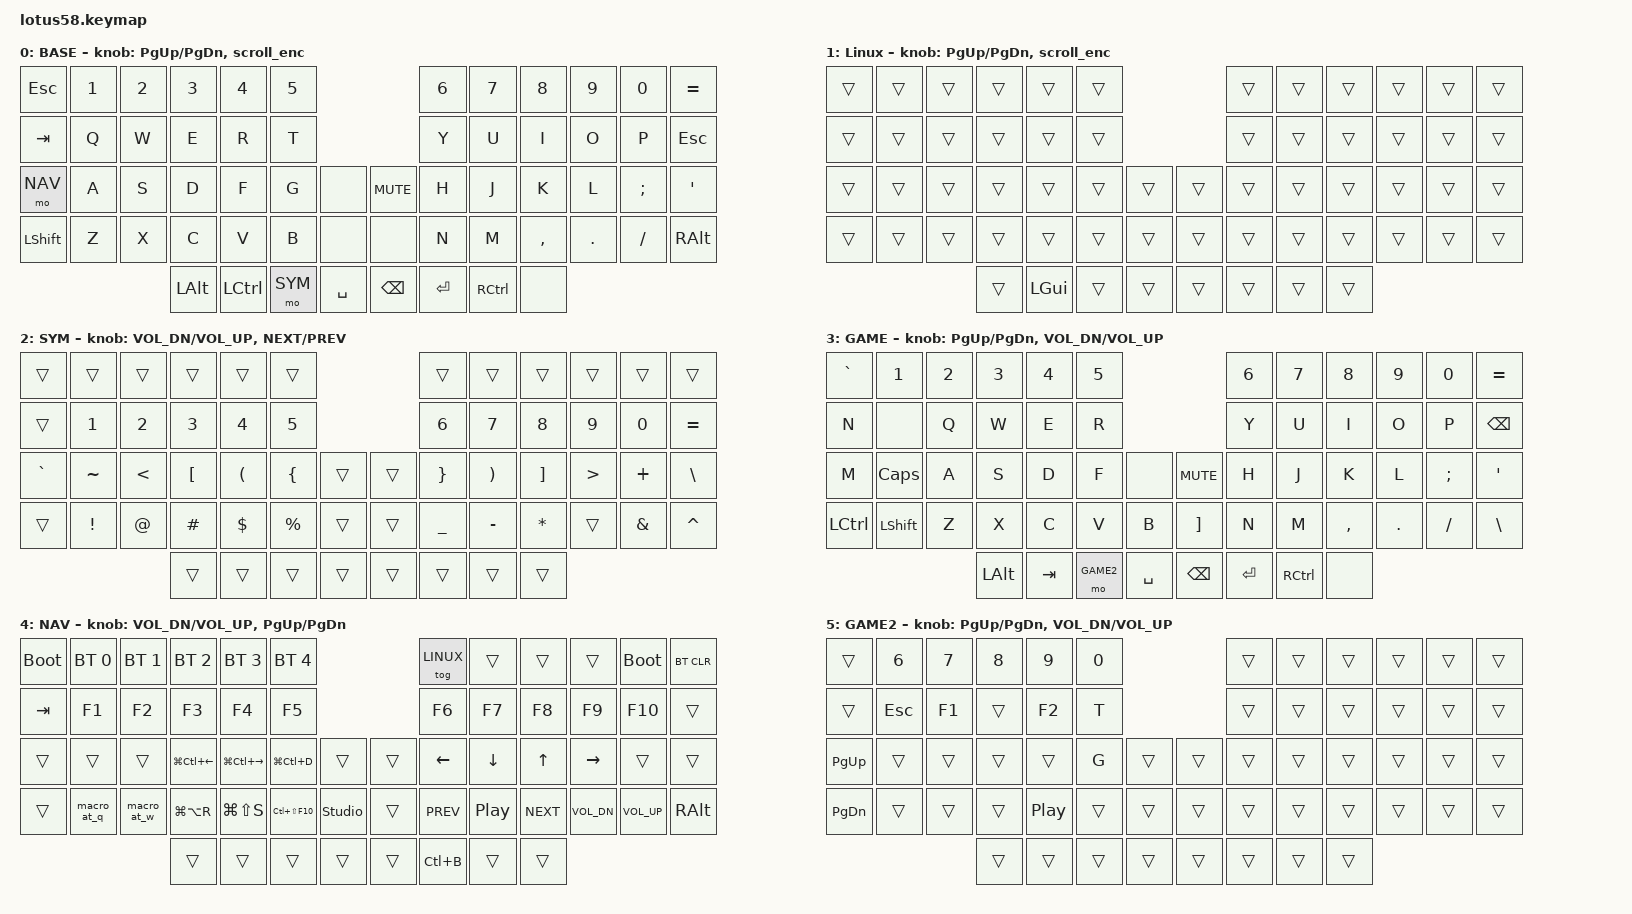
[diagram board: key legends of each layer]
/*
 * Copyright (c) 2022 The ZMK Contributors
 *
 * SPDX-License-Identifier: MIT
 */

#include <behaviors.dtsi>
#include <dt-bindings/zmk/keys.h>
#include <dt-bindings/zmk/bt.h>
#include <dt-bindings/zmk/outputs.h>
#include <dt-bindings/zmk/pointing.h>

/*
 * LAYER ORDER MATTERS.
 * ZMK resolves a keypress by looking at every active layer and using the
 * HIGHEST-numbered one that isn't &trans. So the order below is deliberate:
 *
 *   BASE (0) < LINUX (1) < SYM (2) < GAME (3) < NAV (4) < GAME2 (5)
 *
 * - GAME2 must sit above GAME, otherwise holding the GAME2 key while gaming would
 *   activate GAME2 underneath the gaming layer and you'd never see it.
 * - LINUX is a tiny "overlay" that is normally OFF. It changes one key (see below).
 *   It must sit BELOW SYM so that holding SYM stops the BASE<->GAME combos from firing.
 * - A layer's number comes from its position in the keymap below, so the layer
 *   blocks must stay in this same order.
 *
 * Mapping to your names:
 *   BASE = Coding layer 1   SYM = Coding layer 2   NAV = Coding layer 3
 *   GAME = Gaming layer     GAME2 = Gaming function layer (held from GAME only)
 *
 * Layer 0 is the "default layer" and is always active at the bottom of the stack.
 */
#define BASE  0
#define LINUX 1
#define SYM   2
#define GAME  3
#define NAV   4
#define GAME2 5

/*
 * Key positions. Numbering is left-to-right, top-to-bottom:
 *    0-11  number row (Lotus only - not on the Corne, left alone on SYM/NAV)
 *   12-23  Q row      (Corne top row)
 *   24-37  A row      (Corne home row). 30 is NOT a key on your board (it's the screen);
 *                     31 is the right encoder click.
 *   38-51  Z row      (Corne bottom row; 44, 45 = the two inner keys, used for the game combo)
 *   52-55  left thumbs   (52 spare | 53 = Corne outer, 54 = Corne middle, 55 = Corne inner)
 *   56-59  right thumbs  (56 = Corne inner, 57 = Corne middle, 58 = Corne outer | 59 spare)
 */

/ {
    macros {
        // Vim macro replays from the work layout (M3 / M4): types "@q" / "@w".
        macro_at_q: macro_at_q {
            compatible = "zmk,behavior-macro";
            #binding-cells = <0>;
            bindings = <&macro_tap &kp AT &kp Q>;
        };

        macro_at_w: macro_at_w {
            compatible = "zmk,behavior-macro";
            #binding-cells = <0>;
            bindings = <&macro_tap &kp AT &kp W>;
        };
    };

    behaviors {
        // Right encoder as a mouse scroll wheel: turn right = scroll down, turn left = scroll up.
        // On this board's right encoder the FIRST binding fires on a turn to the LEFT and the
        // second on a turn to the right (same as the original template's volume knob:
        // "C_VOL_DN C_VOL_UP"), so the order below looks backwards but isn't.
        // ZMK presses then releases the bound behavior for each encoder click. A scroll press
        // only produces output once it has been held for a short while, so tap-ms is raised
        // from its small default. If scrolling is too slow/fast or does nothing, tune tap-ms
        // (or the speed in the SCRL_ bindings). If it scrolls backwards, swap the two bindings.
        scroll_enc: scroll_enc {
            compatible = "zmk,behavior-sensor-rotate";
            #sensor-binding-cells = <0>;
            bindings = <&msc SCRL_UP>, <&msc SCRL_DOWN>;
            tap-ms = <40>;
        };
    };

    combos {
        compatible = "zmk,combos";

        // BASE -> GAME: press both inner bottom-row keys (44 + 45) together.
        // &tog GAME turns the gaming layer on and it STAYS on. (We use &tog rather than &to
        // so that a Linux-mode setting underneath survives a trip into the game layer.)
        // 'layers' = the highest active layer the combo may fire on: only plain BASE
        // (or BASE + the LINUX overlay) - not while holding SYM/NAV, not while gaming.
        combo_to_game {
            timeout-ms = <50>;
            key-positions = <44 45>;
            layers = <BASE LINUX>;
            bindings = <&tog GAME>;
        };

        // GAME -> BASE: same two keys, only active while on the gaming layer.
        // &tog GAME again turns it off, dropping you back onto BASE (or BASE + LINUX).
        combo_to_base {
            timeout-ms = <50>;
            key-positions = <44 45>;
            layers = <GAME>;
            bindings = <&tog GAME>;
        };
    };

    keymap {
        compatible = "zmk,keymap";

        // ---------------------------------------------------------------------------------
        // Coding layer 1 (default) - matches the work Corne base layer.
        //   pos 24 (home-row pinky): hold = NAV (coding 3)
        //   pos 54 (left middle thumb): hold = SYM (coding 2)
        //   pos 53 (left outer thumb): LCTRL here (Windows). See the LINUX layer for Super.
        //   pos 52 (left outermost thumb): LALT
        // Number row (0-11) is Lotus-only, so it's just numbers.
        // pos 44 / 45 are unbound - they're the BASE<->GAME combo keys (and [ ] live on SYM).
        // pos 31 = encoder click (mute); pos 30 isn't a key.
        // ---------------------------------------------------------------------------------
        base_layer {
            display-name = "BASE";
            bindings = <
&kp ESC   &kp N1 &kp N2 &kp N3  &kp N4   &kp N5                              &kp N6    &kp N7  &kp N8    &kp N9   &kp N0   &kp EQUAL
&kp TAB   &kp Q  &kp W  &kp E   &kp R    &kp T                               &kp Y     &kp U   &kp I     &kp O    &kp P    &kp ESC
&mo NAV   &kp A  &kp S  &kp D   &kp F    &kp G   &none       &kp C_MUTE      &kp H     &kp J   &kp K     &kp L    &kp SEMI &kp SQT
&kp LSHFT &kp Z  &kp X  &kp C   &kp V    &kp B   &none       &none           &kp N     &kp M   &kp COMMA &kp DOT  &kp FSLH &kp RALT
                        &kp LALT &kp LCTRL &mo SYM &kp SPACE  &kp BSPC &kp RET &kp RCTRL &none
            >;

            sensor-bindings = <&inc_dec_kp PG_UP PG_DN &scroll_enc>;
        };

        // ---------------------------------------------------------------------------------
        // LINUX overlay. Normally OFF. Toggle it with the &tog LINUX key on the NAV layer.
        // While on, it changes ONE key: pos 53 becomes LGUI (Super, for Omarchy/Hyprland)
        // instead of LCTRL. Everything else is &trans, so it falls through to whatever is
        // below (BASE). ZMK can't detect which OS it's plugged into, so this is a manual switch.
        // The nice_view shows this layer's name ("LINUX") while it's the top layer, as an indicator.
        // (The gem screen upper-cases names and cuts them off after 9 characters.)
        // ---------------------------------------------------------------------------------
        linux_layer {
            display-name = "Linux";
            bindings = <
&trans    &trans   &trans   &trans   &trans   &trans                        &trans    &trans    &trans    &trans    &trans    &trans
&trans    &trans   &trans   &trans   &trans   &trans                        &trans    &trans    &trans    &trans    &trans    &trans
&trans    &trans   &trans   &trans   &trans   &trans   &trans   &trans      &trans    &trans    &trans    &trans    &trans    &trans
&trans    &trans   &trans   &trans   &trans   &trans   &trans   &trans      &trans    &trans    &trans    &trans    &trans    &trans
                            &trans   &kp LGUI &trans   &trans    &trans   &trans    &trans    &trans
            >;

            sensor-bindings = <&inc_dec_kp PG_UP PG_DN &scroll_enc>;
        };

        // ---------------------------------------------------------------------------------
        // Coding layer 2: numbers + symbols (Corne layer 1). Hold pos 54 on BASE.
        // The Corne has no number row, so its top row holds 1-5 / 6-0 here; the Lotus's own
        // number row is left as &trans. Legends on the sheet show the shifted symbol above
        // the key, so each key sends the unshifted one (1, [, \ ...).
        //
        // GUESSES - these keys were inked over on the sheet, please check:
        //   pos 46 = _   47 = -   49 = (left as &trans -> '.')   50 = &   51 = ^
        // ---------------------------------------------------------------------------------
        sym_layer {
            display-name = "SYM";
            bindings = <
&trans    &trans   &trans   &trans   &trans   &trans                        &trans    &trans    &trans    &trans    &trans    &trans
&trans    &kp N1   &kp N2   &kp N3   &kp N4   &kp N5                        &kp N6    &kp N7    &kp N8    &kp N9    &kp N0    &kp EQUAL
&kp GRAVE &kp TILDE &kp LT  &kp LBKT &kp LPAR &kp LBRC &trans   &trans      &kp RBRC  &kp RPAR  &kp RBKT  &kp GT    &kp PLUS  &kp BSLH
&trans    &kp EXCL &kp AT   &kp HASH &kp DLLR &kp PRCNT &trans  &trans      &kp UNDER &kp MINUS &kp STAR  &trans    &kp AMPS  &kp CARET
                            &trans   &trans   &trans   &trans    &trans   &trans    &trans    &trans
            >;

            sensor-bindings = <&inc_dec_kp C_VOL_DN C_VOL_UP &inc_dec_kp C_NEXT C_PREV>;
        };

        // ---------------------------------------------------------------------------------
        // Gaming layer. Reached by the 44+45 combo from BASE; the same combo returns.
        // Every key is spelled out (no &trans) so nothing leaks through from BASE.
        //
        // ESDF SHIFT: the left half's letters are shifted one column toward the middle, so
        // your fingers rest on the E S D F keys but the keyboard sends W A S D. Games need no
        // rebinding. The outer column is freed up as extra pinky room.
        //   Q row:  N    -     Q   [W]   E    R
        //   home:   M    Caps [A]  [S]  [D]   F
        //   bottom: Ctrl Shift Z    X    C    V    B (pos 44)
        // T and G don't fit on the left half any more; they're on GAME2.
        // The number row is NOT shifted: 1-5 stay on the keys labelled 1-5.
        // pos 0 (top-left) is a grave/backtick instead of Esc, so Esc can't be hit by
        // accident; Esc is on GAME2.
        // Thumbs: Alt, Tab, hold = GAME2, Space (innermost).
        // pos 44 / 45 (the combo keys) send B and ] when tapped alone. Pressing both together
        // still toggles back to BASE.
        // The right half is a normal layout and isn't used much while gaming.
        // ---------------------------------------------------------------------------------
        game_layer {
            display-name = "GAME";
            bindings = <
&kp GRAVE &kp N1   &kp N2 &kp N3 &kp N4  &kp N5                              &kp N6    &kp N7  &kp N8    &kp N9   &kp N0   &kp EQUAL
&kp N     &none    &kp Q  &kp W  &kp E   &kp R                               &kp Y     &kp U   &kp I     &kp O    &kp P    &kp BSPC
&kp M     &kp CAPS &kp A  &kp S  &kp D   &kp F   &none       &kp C_MUTE      &kp H     &kp J   &kp K     &kp L    &kp SEMI &kp SQT
&kp LCTRL &kp LSHFT &kp Z &kp X  &kp C   &kp V   &kp B       &kp RBKT        &kp N     &kp M   &kp COMMA &kp DOT  &kp FSLH &kp BSLH
                        &kp LALT &kp TAB &mo GAME2 &kp SPACE &kp BSPC &kp RET &kp RCTRL &none
            >;

            sensor-bindings = <&inc_dec_kp PG_UP PG_DN &inc_dec_kp C_VOL_DN C_VOL_UP>;
        };

        // ---------------------------------------------------------------------------------
        // Coding layer 3: function keys, arrows, media, macros (Corne layer 2).
        // Hold pos 24 from BASE. It sits on top of the stack while held, so releasing drops
        // you back to BASE. &trans keys fall through to BASE.
        // (Gaming has its own function layer, GAME2, so this layer is for coding only.)
        //
        // Number row (0-11): Lotus-only, so I used it for Bluetooth select/clear, bootloader,
        // and the Windows/Linux switch (pos 6 = &tog LINUX).
        // Bootloader keys: pos 0 (far-left key, top row) puts the LEFT half into bootloader
        // mode and pos 10 puts the RIGHT half into it - each reboots the half it's pressed on.
        // Hold NAV, then press. To reach them while gaming, leave GAME mode first.
        // Windows virtual desktops (D1-D4 on the sheet):
        //   pos 27 = previous desktop  (Win+Ctrl+Left)
        //   pos 28 = next desktop      (Win+Ctrl+Right)
        //   pos 29 = new desktop       (Win+Ctrl+D)
        //   pos 26 = (D1, unassigned)
        // Other keys, from the notes on the sheet:
        //   M0 screenshot = Win+Shift+S (Snipping Tool), M1 screen recorder = Win+Alt+R (Xbox Game Bar)
        //   M2 = Ctrl+Shift+F10 (PyCharm: run current file)
        //   M3 / M4 = macros typing "@q" / "@w"
        //   pos 57 = Ctrl+B (tmux prefix)
        // F7 / F8 = VS Code prev / next terminal (just the function keys, as on the sheet).
        // pos 44 = Studio unlock (needed to edit this keymap live with ZMK Studio).
        // ---------------------------------------------------------------------------------
        nav_layer {
            display-name = "NAV";
            bindings = <
&bootloader &bt BT_SEL 0 &bt BT_SEL 1 &bt BT_SEL 2 &bt BT_SEL 3 &bt BT_SEL 4              &tog LINUX &trans    &trans    &trans    &bootloader &bt BT_CLR
&kp TAB   &kp F1   &kp F2   &kp F3   &kp F4   &kp F5                        &kp F6     &kp F7    &kp F8    &kp F9    &kp F10   &trans
&trans    &trans   &trans   &kp LG(LC(LEFT)) &kp LG(LC(RIGHT)) &kp LG(LC(D)) &trans &trans  &kp LEFT   &kp DOWN  &kp UP    &kp RIGHT &trans    &trans
&trans    &macro_at_q &macro_at_w &kp LG(LA(R)) &kp LG(LS(S)) &kp LC(LS(F10)) &studio_unlock &trans  &kp C_PREV &kp C_PP &kp C_NEXT &kp C_VOL_DN &kp C_VOL_UP &kp RALT
                            &trans   &trans   &trans   &trans    &trans   &kp LC(B) &trans    &trans
            >;

            sensor-bindings = <&inc_dec_kp C_VOL_DN C_VOL_UP &inc_dec_kp PG_UP PG_DN>;
        };

        // ---------------------------------------------------------------------------------
        // GAME2: gaming function layer. Hold the left thumb key pos 54 while on GAME.
        // Movement keys (W A S D, on the physical E S D F keys) are &trans so you can keep
        // moving while holding it. Everything &trans (shown as "." below) falls through to
        // GAME, e.g. Caps, Shift, Z, X.
        //   num row: .    6    7    8    9    0     (on the keys labelled 1-5)
        //   Q row:   .    Esc  F1  [W]   F2   T
        //   home:    PgUp .   [A]  [S]  [D]   G
        //   bottom:  PgDn .    .    .    Play .     (Play = play/pause media)
        // ---------------------------------------------------------------------------------
        game2_layer {
            display-name = "GAME2";
            bindings = <
&trans    &kp N6   &kp N7   &kp N8   &kp N9   &kp N0                        &trans    &trans    &trans    &trans    &trans    &trans
&trans    &kp ESC  &kp F1   &trans   &kp F2   &kp T                         &trans    &trans    &trans    &trans    &trans    &trans
&kp PG_UP &trans   &trans   &trans   &trans   &kp G    &trans   &trans      &trans    &trans    &trans    &trans    &trans    &trans
&kp PG_DN &trans   &trans   &trans   &kp C_PP &trans   &trans   &trans      &trans    &trans    &trans    &trans    &trans    &trans
                            &trans   &trans   &trans   &trans    &trans   &trans    &trans    &trans
            >;

            sensor-bindings = <&inc_dec_kp PG_UP PG_DN &inc_dec_kp C_VOL_DN C_VOL_UP>;
        };
    };
};
